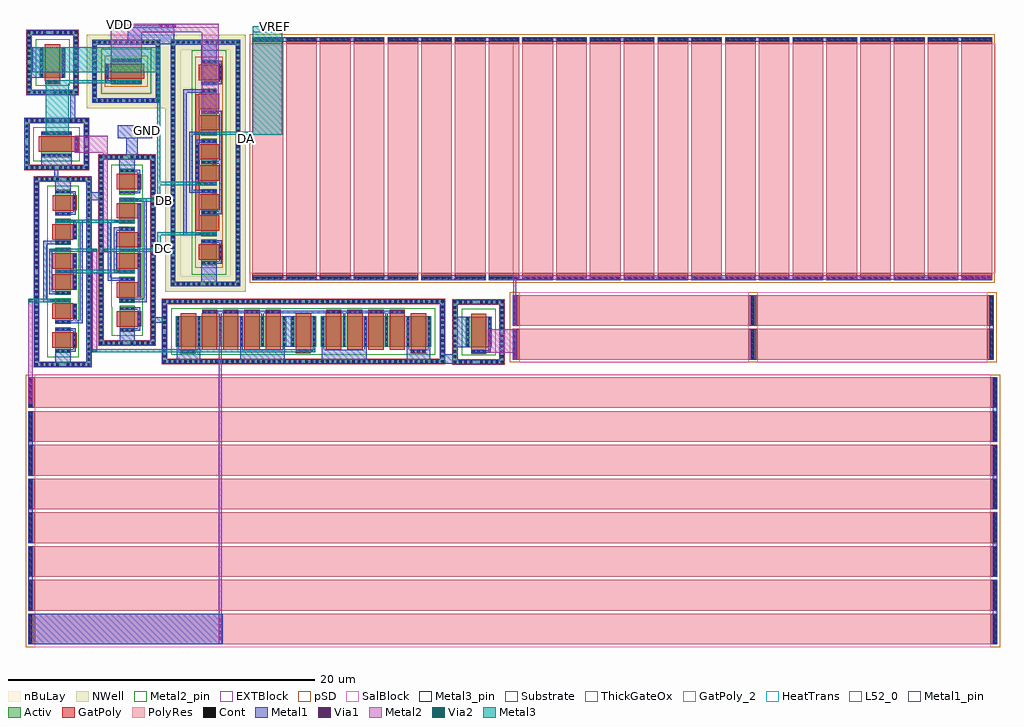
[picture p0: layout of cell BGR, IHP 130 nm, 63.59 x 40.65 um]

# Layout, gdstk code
from math import pi, radians
import gdstk
lib = gdstk.Library(unit=1e-6, precision=5e-09)
def R(c, l, rs):  # rectangles x0, y0, x1, y1
    for r in rs: c.add(gdstk.rectangle(r[:2], r[2:], *l))
def A(c, l, x, y, w, h, nx, ny, dx, dy):  # array of equal rectangles
    R(c, l, [(x+i*dx, y+j*dy, x+i*dx+w, y+j*dy+h) for i in range(nx) for j in range(ny)])
def P(c, l, *ps):  # polygons
    for p in ps: c.add(gdstk.Polygon(p, *l))
Activ = (1, 0)
GatPoly = (5, 0)
GatPoly_2 = (5, 2)
Cont = (6, 0)
Metal1 = (8, 0)
Metal1_pin = (8, 2)
Metal2 = (10, 0)
Metal2_pin = (10, 2)
pSD = (14, 0)
Via1 = (19, 0)
SalBlock = (28, 0)
Via2 = (29, 0)
Metal3 = (30, 0)
Metal3_pin = (30, 2)
NWell = (31, 0)
nBuLay = (32, 0)
Substrate = (40, 0)
ThickGateOx = (44, 0)
HeatTrans = (51, 0)
L52_0 = (52, 0)
EXTBlock = (111, 0)
PolyRes = (128, 0)

nmoshv = lib.new_cell('nmosHV')
R(nmoshv, Activ, [(0,0,0.3,0.3), (0,0,1.68,2), (1.38,0,1.68,0.3)])
R(nmoshv, GatPoly, [(0.34,-0.18,1.34,2.18)])
R(nmoshv, GatPoly_2, [(0.34,-0.18,1.34,2.18)])
A(nmoshv, Cont, 0.07, 0.07, 0.16, 0.16, 1, 6, 0, 0.34)
A(nmoshv, Cont, 1.45, 0.07, 0.16, 0.16, 1, 6, 0, 0.34)
R(nmoshv, Metal1, [(0.07,0,0.23,2), (1.45,0,1.61,2)])
R(nmoshv, Metal1_pin, [(0.07,0,0.23,2), (1.45,0,1.61,2)])
R(nmoshv, ThickGateOx, [(-0.27,-0.52,1.95,2.52)])
R(nmoshv, HeatTrans, [(0.34,-0.18,1.34,2.18)])
nmoshv.add(gdstk.Label('nmosHV', (0.84,1), layer=63, texttype=0))
nmoshv.add(gdstk.Label('nmosHV', (0.84,1), layer=51, texttype=0))

rppd = lib.new_cell('rppd')
R(rppd, GatPoly, [(0,-0.43,2,-0.2), (0,-0.2,2,0), (0,62.265,2,62.465), (0,62.465,2,62.695)])
R(rppd, Cont, [(0.07,-0.36,1.93,-0.2), (0.07,62.465,1.93,62.625)])
R(rppd, Metal1, [(0.02,-0.43,1.98,-0.13), (0.02,62.395,1.98,62.695)])
R(rppd, Metal1_pin, [(0.02,-0.43,1.98,-0.13), (0.02,62.395,1.98,62.695)])
R(rppd, pSD, [(-0.18,-0.61,2.18,0), (-0.18,0,2.18,62.265), (-0.18,62.265,2.18,62.875)])
R(rppd, SalBlock, [(-0.2,0,2.2,62.265)])
R(rppd, L52_0, [(0,0,2,62.265)])
R(rppd, EXTBlock, [(-0.18,-0.61,2.18,0), (-0.2,0,2.2,62.265), (-0.18,62.265,2.18,62.875)])
R(rppd, PolyRes, [(0,0,2,62.265)])
rppd.add(gdstk.Label('rppd r=8105.000', (1,31.13), layer=63, texttype=0))
rppd.add(gdstk.Label('rppd', (1,31.13), layer=52, texttype=0))

rppd_1 = lib.new_cell('rppd$1')
R(rppd_1, GatPoly, [(0,-0.43,2,-0.2), (0,-0.2,2,0), (0,14.97,2,15.17), (0,15.17,2,15.4)])
R(rppd_1, Cont, [(0.07,-0.36,1.93,-0.2), (0.07,15.17,1.93,15.33)])
R(rppd_1, Metal1, [(0.02,-0.43,1.98,-0.13), (0.02,15.1,1.98,15.4)])
R(rppd_1, Metal1_pin, [(0.02,-0.43,1.98,-0.13), (0.02,15.1,1.98,15.4)])
R(rppd_1, pSD, [(-0.18,-0.61,2.18,0), (-0.18,0,2.18,14.97), (-0.18,14.97,2.18,15.58)])
R(rppd_1, SalBlock, [(-0.2,0,2.2,14.97)])
R(rppd_1, L52_0, [(0,0,2,14.97)])
R(rppd_1, EXTBlock, [(-0.18,-0.61,2.18,0), (-0.2,0,2.2,14.97), (-0.18,14.97,2.18,15.58)])
R(rppd_1, PolyRes, [(0,0,2,14.97)])
rppd_1.add(gdstk.Label('rppd r=1975.000', (1,7.485), layer=63, texttype=0))
rppd_1.add(gdstk.Label('rppd', (1,7.485), layer=52, texttype=0))

guard_ring_3 = lib.new_cell('guard_ring$3')
R(guard_ring_3, Activ, [(-2.095,-1.38,-1.795,1.38), (1.795,-1.38,2.095,1.38), (-2.095,1.38,2.095,1.68)])
P(guard_ring_3, Activ, [(-2.095,-1.68),(-2.095,1.38),(-1.795,1.38),(-1.795,-1.38),(1.795,-1.38),(1.795,1.38),(-2.095,1.38),(-2.095,1.68),(2.095,1.68),(2.095,-1.68)])
A(guard_ring_3, Cont, -2.025, -1.61, 0.16, 0.16, 6, 2, 0.34, 3.06)
A(guard_ring_3, Cont, 0.165, -1.61, 0.16, 0.16, 6, 2, 0.34, 3.06)
A(guard_ring_3, Cont, -2.025, -1.27, 0.16, 0.16, 1, 3, 0, 0.34)
A(guard_ring_3, Cont, 1.865, -1.27, 0.16, 0.16, 1, 3, 0, 0.34)
A(guard_ring_3, Cont, -2.025, 0.09, 0.16, 0.16, 1, 4, 0, 0.34)
A(guard_ring_3, Cont, 1.865, 0.09, 0.16, 0.16, 1, 4, 0, 0.34)
R(guard_ring_3, Metal1, [(-2.095,-1.68,2.095,-1.38), (-2.095,-1.38,-1.795,1.38), (1.795,-1.38,2.095,1.38), (-2.095,1.38,2.095,1.68)])
R(guard_ring_3, pSD, [(-2.125,-1.35,-1.765,1.35), (1.765,-1.35,2.125,1.35), (-2.125,1.35,2.125,1.71)])
P(guard_ring_3, pSD, [(-2.125,-1.71),(-2.125,1.35),(-1.765,1.35),(-1.765,-1.35),(1.765,-1.35),(1.765,1.35),(-2.125,1.35),(-2.125,1.71),(2.125,1.71),(2.125,-1.71)])
R(guard_ring_3, Substrate, [(-2.125,-1.35,-1.765,1.35), (1.765,-1.35,2.125,1.35), (-2.125,1.35,2.125,1.71)])
P(guard_ring_3, Substrate, [(-2.125,-1.71),(-2.125,1.35),(-1.765,1.35),(-1.765,-1.35),(1.765,-1.35),(1.765,1.35),(-2.125,1.35),(-2.125,1.71),(2.125,1.71),(2.125,-1.71)])
guard_ring_3.add(gdstk.Label('sub!', (0,-1.53), layer=63, texttype=0))

guard_ring_9 = lib.new_cell('guard_ring$9')
R(guard_ring_9, Activ, [(-6.2,-1.55,-5.9,1.55), (5.9,-1.55,6.2,1.55), (-6.2,1.55,6.2,1.85)])
P(guard_ring_9, Activ, [(-6.2,-1.85),(-6.2,1.55),(-5.9,1.55),(-5.9,-1.55),(5.9,-1.55),(5.9,1.55),(-6.2,1.55),(-6.2,1.85),(6.2,1.85),(6.2,-1.85)])
A(guard_ring_9, Cont, -6.13, -1.78, 0.16, 0.16, 18, 2, 0.34, 3.4)
A(guard_ring_9, Cont, 0.19, -1.78, 0.16, 0.16, 18, 2, 0.34, 3.4)
A(guard_ring_9, Cont, -6.13, -1.44, 0.16, 0.16, 1, 4, 0, 0.34)
A(guard_ring_9, Cont, 5.97, -1.44, 0.16, 0.16, 1, 4, 0, 0.34)
A(guard_ring_9, Cont, -6.13, 0.26, 0.16, 0.16, 1, 4, 0, 0.34)
A(guard_ring_9, Cont, 5.97, 0.26, 0.16, 0.16, 1, 4, 0, 0.34)
R(guard_ring_9, Metal1, [(-6.2,-1.85,6.2,-1.55), (-6.2,-1.55,-5.9,1.55), (5.9,-1.55,6.2,1.55), (-6.2,1.55,6.2,1.85)])
R(guard_ring_9, pSD, [(-6.23,-1.52,-5.87,1.52), (5.87,-1.52,6.23,1.52), (-6.23,1.52,6.23,1.88)])
P(guard_ring_9, pSD, [(-6.23,-1.88),(-6.23,1.52),(-5.87,1.52),(-5.87,-1.52),(5.87,-1.52),(5.87,1.52),(-6.23,1.52),(-6.23,1.88),(6.23,1.88),(6.23,-1.88)])
R(guard_ring_9, Substrate, [(-6.23,-1.52,-5.87,1.52), (5.87,-1.52,6.23,1.52), (-6.23,1.52,6.23,1.88)])
P(guard_ring_9, Substrate, [(-6.23,-1.88),(-6.23,1.52),(-5.87,1.52),(-5.87,-1.52),(5.87,-1.52),(5.87,1.52),(-6.23,1.52),(-6.23,1.88),(6.23,1.88),(6.23,-1.88)])
guard_ring_9.add(gdstk.Label('sub!', (0,-1.7), layer=63, texttype=0))

via_stack_1 = lib.new_cell('via_stack$1')
R(via_stack_1, GatPoly, [(-0.49,-0.15,0.49,0.15)])
A(via_stack_1, Cont, -0.42, -0.08, 0.16, 0.16, 3, 1, 0.34, 0)
R(via_stack_1, Metal1, [(-0.47,-0.08,0.47,0.08)])

nmoshv_1 = lib.new_cell('nmosHV$1')
R(nmoshv_1, Activ, [(0,0,0.3,0.3), (0,0,1.68,1), (1.38,0,1.68,0.3)])
R(nmoshv_1, GatPoly, [(0.34,-0.18,1.34,1.18)])
R(nmoshv_1, GatPoly_2, [(0.34,-0.18,1.34,1.18)])
A(nmoshv_1, Cont, 0.07, 0.07, 0.16, 0.16, 1, 3, 0, 0.35)
A(nmoshv_1, Cont, 1.45, 0.07, 0.16, 0.16, 1, 3, 0, 0.35)
R(nmoshv_1, Metal1, [(0.07,0,0.23,1), (1.45,0,1.61,1)])
R(nmoshv_1, Metal1_pin, [(0.07,0,0.23,1), (1.45,0,1.61,1)])
R(nmoshv_1, ThickGateOx, [(-0.27,-0.52,1.95,1.52)])
R(nmoshv_1, HeatTrans, [(0.34,-0.18,1.34,1.18)])
nmoshv_1.add(gdstk.Label('nmosHV', (0.84,0.5), layer=63, texttype=0))
nmoshv_1.add(gdstk.Label('nmosHV', (0.84,0.5), layer=51, texttype=0))

via_stack_2 = lib.new_cell('via_stack$2')
R(via_stack_2, Metal1, [(-0.105,-0.965,0.105,0.965)])
R(via_stack_2, Metal2, [(-0.1,-0.965,0.1,0.965)])
A(via_stack_2, Via1, -0.095, -0.915, 0.19, 0.19, 1, 5, 0, 0.41)

via_stack_5 = lib.new_cell('via_stack$5')
R(via_stack_5, Metal1, [(-0.965,-0.105,0.965,0.105)])
R(via_stack_5, Metal2, [(-0.965,-0.1,0.965,0.1)])
A(via_stack_5, Via1, -0.915, -0.095, 0.19, 0.19, 5, 1, 0.41, 0)

via_stack_8 = lib.new_cell('via_stack$8')
R(via_stack_8, Metal1, [(-0.76,-0.105,0.76,0.105)])
R(via_stack_8, Metal2, [(-0.76,-0.1,0.76,0.1)])
A(via_stack_8, Via1, -0.71, -0.095, 0.19, 0.19, 4, 1, 0.41, 0)

guard_ring_2 = lib.new_cell('guard_ring$2')
R(guard_ring_2, Activ, [(-9.2,-1.8,-8.9,1.8), (8.9,-1.8,9.2,1.8), (-9.2,1.8,9.2,2.1)])
P(guard_ring_2, Activ, [(-9.2,-2.1),(-9.2,1.8),(-8.9,1.8),(-8.9,-1.8),(8.9,-1.8),(8.9,1.8),(-9.2,1.8),(-9.2,2.1),(9.2,2.1),(9.2,-2.1)])
A(guard_ring_2, Cont, -9.13, -2.03, 0.16, 0.16, 27, 2, 0.34, 3.9)
A(guard_ring_2, Cont, 0.13, -2.03, 0.16, 0.16, 27, 2, 0.34, 3.9)
A(guard_ring_2, Cont, -9.13, -1.69, 0.16, 0.16, 1, 5, 0, 0.34)
A(guard_ring_2, Cont, 8.97, -1.69, 0.16, 0.16, 1, 5, 0, 0.34)
A(guard_ring_2, Cont, -9.13, 0.17, 0.16, 0.16, 1, 5, 0, 0.34)
A(guard_ring_2, Cont, 8.97, 0.17, 0.16, 0.16, 1, 5, 0, 0.34)
R(guard_ring_2, Metal1, [(-9.2,-2.1,9.2,-1.8), (-9.2,-1.8,-8.9,1.8), (8.9,-1.8,9.2,1.8), (-9.2,1.8,9.2,2.1)])
R(guard_ring_2, pSD, [(-9.23,-1.77,-8.87,1.77), (8.87,-1.77,9.23,1.77), (-9.23,1.77,9.23,2.13)])
P(guard_ring_2, pSD, [(-9.23,-2.13),(-9.23,1.77),(-8.87,1.77),(-8.87,-1.77),(8.87,-1.77),(8.87,1.77),(-9.23,1.77),(-9.23,2.13),(9.23,2.13),(9.23,-2.13)])
R(guard_ring_2, Substrate, [(-9.23,-1.77,-8.87,1.77), (8.87,-1.77,9.23,1.77), (-9.23,1.77,9.23,2.13)])
P(guard_ring_2, Substrate, [(-9.23,-2.13),(-9.23,1.77),(-8.87,1.77),(-8.87,-1.77),(8.87,-1.77),(8.87,1.77),(-9.23,1.77),(-9.23,2.13),(9.23,2.13),(9.23,-2.13)])
guard_ring_2.add(gdstk.Label('sub!', (0,-1.95), layer=63, texttype=0))

guard_ring = lib.new_cell('guard_ring')
R(guard_ring, Activ, [(-8.025,-1.975,-7.725,1.975), (7.725,-1.975,8.025,1.975), (-8.025,1.975,8.025,2.275)])
P(guard_ring, Activ, [(-8.025,-2.275),(-8.025,1.975),(-7.725,1.975),(-7.725,-1.975),(7.725,-1.975),(7.725,1.975),(-8.025,1.975),(-8.025,2.275),(8.025,2.275),(8.025,-2.275)])
A(guard_ring, Cont, -7.955, -2.205, 0.16, 0.16, 23, 2, 0.34, 4.25)
A(guard_ring, Cont, -0.025, -2.205, 0.16, 0.16, 24, 2, 0.34, 4.25)
A(guard_ring, Cont, -7.955, -1.865, 0.16, 0.16, 1, 5, 0, 0.34)
A(guard_ring, Cont, 7.795, -1.865, 0.16, 0.16, 1, 5, 0, 0.34)
A(guard_ring, Cont, -7.955, 0.005, 0.16, 0.16, 1, 6, 0, 0.34)
A(guard_ring, Cont, 7.795, 0.005, 0.16, 0.16, 1, 6, 0, 0.34)
R(guard_ring, Metal1, [(-8.025,-2.275,8.025,-1.975), (-8.025,-1.975,-7.725,1.975), (7.725,-1.975,8.025,1.975), (-8.025,1.975,8.025,2.275)])
R(guard_ring, NWell, [(-8.375,-2.625,8.375,2.625)])
R(guard_ring, nBuLay, [(-8.375,-1.625,-7.375,1.625), (7.375,-1.625,8.375,1.625), (-8.375,1.625,8.375,2.625)])
P(guard_ring, nBuLay, [(-8.375,-2.625),(-8.375,1.625),(-7.375,1.625),(-7.375,-1.625),(7.375,-1.625),(7.375,1.625),(-8.375,1.625),(-8.375,2.625),(8.375,2.625),(8.375,-2.625)])
guard_ring.add(gdstk.Label('well', (0,-2.125), layer=63, texttype=0))

via_stack = lib.new_cell('via_stack')
R(via_stack, GatPoly, [(-1.17,-0.15,1.17,0.15)])
A(via_stack, Cont, -1.1, -0.08, 0.16, 0.16, 7, 1, 0.34, 0)
R(via_stack, Metal1, [(-1.15,-0.08,1.15,0.08)])

pmoshv = lib.new_cell('pmosHV')
R(pmoshv, Activ, [(0,0,0.3,0.3), (0,0,1.68,1), (1.38,0,1.68,0.3)])
R(pmoshv, GatPoly, [(0.34,-0.18,1.34,1.18)])
R(pmoshv, GatPoly_2, [(0.34,-0.18,1.34,1.18)])
A(pmoshv, Cont, 0.07, 0.07, 0.16, 0.16, 1, 3, 0, 0.35)
A(pmoshv, Cont, 1.45, 0.07, 0.16, 0.16, 1, 3, 0, 0.35)
R(pmoshv, Metal1, [(0.07,0,0.23,1), (1.45,0,1.61,1)])
R(pmoshv, Metal1_pin, [(0.07,0,0.23,1), (1.45,0,1.61,1)])
R(pmoshv, pSD, [(-0.18,-0.4,1.86,1.4)])
R(pmoshv, NWell, [(-0.62,-0.62,2.3,1.62)])
R(pmoshv, Substrate, [(1.38,0,1.68,0.3)])
R(pmoshv, ThickGateOx, [(-0.62,-0.62,2.3,1.62)])
R(pmoshv, HeatTrans, [(0.34,-0.18,1.34,1.18)])
pmoshv.add(gdstk.Label('pmosHV', (0.84,0.5), layer=63, texttype=0))
pmoshv.add(gdstk.Label('pmos', (0.84,0.5), layer=51, texttype=0))

via_stack_6 = lib.new_cell('via_stack$6')
R(via_stack_6, Metal1, [(-0.555,-0.105,0.555,0.105)])
R(via_stack_6, Metal2, [(-0.555,-0.1,0.555,0.1)])
A(via_stack_6, Via1, -0.505, -0.095, 0.19, 0.19, 3, 1, 0.41, 0)

guard_ring_1 = lib.new_cell('guard_ring$1')
R(guard_ring_1, Activ, [(-2.225,-1.75,-1.925,1.75), (1.925,-1.75,2.225,1.75), (-2.225,1.75,2.225,2.05)])
P(guard_ring_1, Activ, [(-2.225,-2.05),(-2.225,1.75),(-1.925,1.75),(-1.925,-1.75),(1.925,-1.75),(1.925,1.75),(-2.225,1.75),(-2.225,2.05),(2.225,2.05),(2.225,-2.05)])
A(guard_ring_1, Cont, -2.155, -1.98, 0.16, 0.16, 6, 2, 0.34, 3.8)
A(guard_ring_1, Cont, -0.045, -1.98, 0.16, 0.16, 7, 2, 0.34, 3.8)
A(guard_ring_1, Cont, -2.155, -1.64, 0.16, 0.16, 1, 5, 0, 0.34)
A(guard_ring_1, Cont, 1.995, -1.64, 0.16, 0.16, 1, 5, 0, 0.34)
A(guard_ring_1, Cont, -2.155, 0.12, 0.16, 0.16, 1, 5, 0, 0.34)
A(guard_ring_1, Cont, 1.995, 0.12, 0.16, 0.16, 1, 5, 0, 0.34)
R(guard_ring_1, Metal1, [(-2.225,-2.05,2.225,-1.75), (-2.225,-1.75,-1.925,1.75), (1.925,-1.75,2.225,1.75), (-2.225,1.75,2.225,2.05)])
R(guard_ring_1, NWell, [(-2.575,-2.4,2.575,2.4)])
R(guard_ring_1, nBuLay, [(-2.575,-1.4,-1.575,1.4), (1.575,-1.4,2.575,1.4), (-2.575,1.4,2.575,2.4)])
P(guard_ring_1, nBuLay, [(-2.575,-2.4),(-2.575,1.4),(-1.575,1.4),(-1.575,-1.4),(1.575,-1.4),(1.575,1.4),(-2.575,1.4),(-2.575,2.4),(2.575,2.4),(2.575,-2.4)])
guard_ring_1.add(gdstk.Label('well', (0,-1.9), layer=63, texttype=0))

pmoshv_2 = lib.new_cell('pmosHV$2')
R(pmoshv_2, Activ, [(0,0,0.3,0.3), (0,0,1.68,2), (1.38,0,1.68,0.3)])
R(pmoshv_2, GatPoly, [(0.34,-0.18,1.34,2.18)])
R(pmoshv_2, GatPoly_2, [(0.34,-0.18,1.34,2.18)])
A(pmoshv_2, Cont, 0.07, 0.07, 0.16, 0.16, 1, 6, 0, 0.34)
A(pmoshv_2, Cont, 1.45, 0.07, 0.16, 0.16, 1, 6, 0, 0.34)
R(pmoshv_2, Metal1, [(0.07,0,0.23,2), (1.45,0,1.61,2)])
R(pmoshv_2, Metal1_pin, [(0.07,0,0.23,2), (1.45,0,1.61,2)])
R(pmoshv_2, pSD, [(-0.18,-0.4,1.86,2.4)])
R(pmoshv_2, NWell, [(-0.62,-0.62,2.3,2.62)])
R(pmoshv_2, Substrate, [(1.38,0,1.68,0.3)])
R(pmoshv_2, ThickGateOx, [(-0.62,-0.62,2.3,2.62)])
R(pmoshv_2, HeatTrans, [(0.34,-0.18,1.34,2.18)])
pmoshv_2.add(gdstk.Label('pmosHV', (0.84,1), layer=63, texttype=0))
pmoshv_2.add(gdstk.Label('pmos', (0.84,1), layer=51, texttype=0))

via_stack_3 = lib.new_cell('via_stack$3')
R(via_stack_3, Metal1, [(-0.35,-0.105,0.35,0.105)])
R(via_stack_3, Metal2, [(-0.35,-0.1,0.35,0.1)])
R(via_stack_3, Via1, [(-0.3,-0.095,-0.11,0.095), (0.11,-0.095,0.3,0.095)])
R(via_stack_3, Via2, [(-0.3,-0.095,-0.11,0.095), (0.11,-0.095,0.3,0.095)])
R(via_stack_3, Metal3, [(-0.35,-0.1,0.35,0.1)])

via_stack_7 = lib.new_cell('via_stack$7')
R(via_stack_7, Metal1, [(-0.965,-0.105,0.965,0.105)])
R(via_stack_7, Metal2, [(-0.965,-0.1,0.965,0.1)])
A(via_stack_7, Via1, -0.915, -0.095, 0.19, 0.19, 5, 1, 0.41, 0)
A(via_stack_7, Via2, -0.915, -0.095, 0.19, 0.19, 5, 1, 0.41, 0)
R(via_stack_7, Metal3, [(-0.965,-0.1,0.965,0.1)])

via_stack_4 = lib.new_cell('via_stack$4')
R(via_stack_4, Metal1, [(-0.105,-0.76,0.105,0.76)])
R(via_stack_4, Metal2, [(-0.1,-0.76,0.1,0.76)])
A(via_stack_4, Via1, -0.095, -0.71, 0.19, 0.19, 1, 4, 0, 0.41)
A(via_stack_4, Via2, -0.095, -0.71, 0.19, 0.19, 1, 4, 0, 0.41)
R(via_stack_4, Metal3, [(-0.1,-0.76,0.1,0.76)])

via_stack_9 = lib.new_cell('via_stack$9')
R(via_stack_9, Metal1, [(-0.76,-0.105,0.76,0.105)])
R(via_stack_9, Metal2, [(-0.76,-0.1,0.76,0.1)])
A(via_stack_9, Via1, -0.71, -0.095, 0.19, 0.19, 4, 1, 0.41, 0)
A(via_stack_9, Via2, -0.71, -0.095, 0.19, 0.19, 4, 1, 0.41, 0)
R(via_stack_9, Metal3, [(-0.76,-0.1,0.76,0.1)])

via_stack_10 = lib.new_cell('via_stack$10')
R(via_stack_10, GatPoly, [(-0.15,-0.49,0.15,0.49)])
A(via_stack_10, Cont, -0.08, -0.42, 0.16, 0.16, 1, 3, 0, 0.34)
R(via_stack_10, Metal1, [(-0.105,-0.555,0.105,0.555)])
R(via_stack_10, Metal2, [(-0.1,-0.555,0.1,0.555)])
A(via_stack_10, Via1, -0.095, -0.505, 0.19, 0.19, 1, 3, 0, 0.41)

via_stack_12 = lib.new_cell('via_stack$12')
R(via_stack_12, Metal1, [(-0.105,-0.76,0.105,0.76)])
R(via_stack_12, Metal2, [(-0.1,-0.76,0.1,0.76)])
A(via_stack_12, Via1, -0.095, -0.71, 0.19, 0.19, 1, 4, 0, 0.41)

bgr = lib.new_cell('BGR')
R(bgr, GatPoly, [(90.19,11.39,90.42,14.28), (93.935,15.75,94.235,24.65)])
P(bgr, GatPoly, [(90.19,14.66),(90.19,16.545),(90.19,17.55),(90.42,17.55),(90.42,14.66)])
A(bgr, Cont, 90.19, 13.36, 0.16, 0.16, 1, 3, 0, 0.34)
A(bgr, Cont, 90.19, 14.74, 0.16, 0.16, 1, 3, 0, 0.34)
R(bgr, Cont, [(90.19,15.42,90.35,15.58)])
A(bgr, Metal1, 145.9, -11.185, 0.3, 4.16, 1, 4, 0, 4.4)
A(bgr, Metal1, 83.075, -8.985, 0.3, 4.16, 1, 3, 0, 4.4)
A(bgr, Metal1, 108.685, 12.53, 4.16, 0.3, 8, 1, 4.4, 0)
A(bgr, Metal1, 106.485, 28.06, 4.16, 0.3, 9, 1, 4.4, 0)
R(bgr, Metal1, [(83.075,-11.185,95.725,-9.225), (109.99,7.08,110.855,7.69), (84.825,7.15,85.825,8.01), (145.68,7.365,145.98,11.525), (110.915,8.145,111.805,10.145), (89.015,8.56,90.015,9.39), (91.155,9.745,91.965,10.095), (86.005,9.895,86.215,10.98), (94.345,12.36,95.345,13.74), (97.685,12.53,108.445,12.83), (86.005,15.2,86.215,16.285), (87.04,17.715,87.76,18.24), (84.83,18.17,85.83,19), (84.745,19.07,85.03,19.835), (89.01,19.55,90.01,20.41), (83.915,19.705,85.915,20.775), (89.455,20.6,90.21,21.91), (88.91,21.77,91.16,22.63), (85.815,22.925,86.145,24.785), (84.18,25.345,85.12,25.555), (83.175,25.71,84.04,27.71), (94.345,26.665,95.345,28.045), (88.455,26.72,90.455,26.93), (89.56,27.88,92.57,29.12), (97.685,28.06,106.245,28.36)])
P(bgr, Metal1, [(107.715,7.31),(107.715,8.175),(107.875,8.175),(107.875,7.995),(109.095,7.995),(109.095,8.345),(109.255,8.345),(109.255,7.31)],
  [(92.735,7.25),(92.735,8.32),(92.895,8.32),(92.895,7.995),(94.115,7.995),(94.115,8.175),(94.275,8.175),(94.275,7.25)],
  [(90.19,11.485),(90.19,14.365),(89.01,14.365),(89.01,14.575),(90.19,14.575),(90.19,17.455),(90.38,17.455),(90.38,11.485)],
  [(88.115,25.365),(88.115,26.605),(88.275,26.605),(88.275,25.525),(88.595,25.525),(88.595,25.365)],
  [(111.945,7.805),(111.945,7.965),(113.025,7.965),(113.025,8.285),(113.185,8.285),(113.185,7.805)],
  [(86.005,11.93),(86.005,12.985),(84.825,12.985),(84.825,13.195),(86.005,13.195),(86.005,14.25),(86.215,14.25),(86.215,11.93)],
  [(95.47,8.175),(95.47,10.355),(94.415,10.355),(94.415,10.515),(107.575,10.515),(107.575,10.355),(106.495,10.355),(106.495,10.175),(106.335,10.175),(106.335,10.355),(103.735,10.355),(103.735,10.175),(103.575,10.175),(103.575,10.355),(98.415,10.355),(98.415,10.175),(98.255,10.175),(98.255,10.355),(95.68,10.355),(95.68,8.175)],
  [(96.875,7.265),(96.875,8.175),(97.035,8.175),(97.035,7.995),(99.635,7.995),(99.635,10.175),(100.385,10.175),(100.385,8.175),(99.795,8.175),(99.795,7.265)],
  [(102.195,7.265),(102.195,8.175),(102.355,8.175),(102.355,7.995),(104.955,7.995),(104.955,8.175),(105.115,8.175),(105.115,7.265)],
  [(100.495,7.81),(100.495,8.02),(101.605,8.02),(101.605,8.175),(101.765,8.175),(101.765,7.81)],
  [(85.825,7.85),(85.825,8.01),(86.005,8.01),(86.005,9.23),(85.825,9.23),(85.825,9.39),(86.165,9.39),(86.165,7.85)],
  [(85.83,16.79),(85.83,16.95),(86.01,16.95),(86.01,18.17),(85.83,18.17),(85.83,18.33),(86.17,18.33),(86.17,16.79)],
  [(84.06,11.095),(84.06,15.085),(85.825,15.085),(85.825,14.875),(84.26,14.875),(84.26,11.305),(85.825,11.305),(85.825,11.095),(85.015,11.095)],
  [(84.825,9.715),(84.825,9.925),(86.415,9.925),(86.415,16.255),(84.825,16.255),(84.825,16.465),(86.615,16.465),(86.615,9.715),(85.66,9.715)],
  [(84.44,11.605),(84.44,14.575),(85.825,14.575),(85.825,14.365),(85.3,14.365),(84.645,14.365),(84.645,11.815),(85.825,11.815),(85.825,11.61),(85.385,11.61),(85.385,11.605)],
  [(90.01,18.17),(90.01,18.33),(90.19,18.33),(90.19,19.55),(90.01,19.55),(90.01,19.71),(90.35,19.71),(90.35,18.17)],
  [(90.015,9.23),(90.015,9.39),(90.195,9.39),(90.195,10.61),(90.015,10.61),(90.015,10.77),(90.355,10.77),(90.355,9.23)],
  [(88.245,12.475),(88.245,16.465),(89.2,16.465),(90.01,16.465),(90.01,16.255),(88.445,16.255),(88.445,12.685),(90.01,12.685),(90.01,12.475)],
  [(89.01,11.095),(89.01,11.305),(90.6,11.305),(90.6,17.635),(89.01,17.635),(89.01,17.845),(89.845,17.845),(90.8,17.845),(90.8,11.095)],
  [(88.625,12.985),(88.625,15.955),(89.57,15.955),(89.57,15.95),(90.01,15.95),(90.01,15.745),(88.83,15.745),(88.83,13.195),(89.485,13.195),(90.01,13.195),(90.01,12.985)],
  [(95.345,13.58),(95.345,13.74),(95.525,13.74),(95.525,14.96),(95.345,14.96),(95.345,15.12),(95.685,15.12),(95.685,13.58)],
  [(95.345,25.285),(95.345,25.445),(95.525,25.445),(95.525,26.665),(95.345,26.665),(95.345,26.825),(95.685,26.825),(95.685,25.285)],
  [(94.345,16.825),(94.345,17.035),(95.525,17.035),(95.525,20.095),(94.345,20.095),(94.345,20.305),(95.525,20.305),(95.525,23.365),(94.345,23.365),(94.345,23.575),(95.685,23.575),(95.685,16.825)],
  [(93.17,15.445),(93.17,24.955),(95.345,24.955),(95.345,24.745),(93.38,24.745),(93.38,15.655),(95.345,15.655),(95.345,15.445)],
  [(93.955,18.715),(93.955,21.685),(95.345,21.685),(95.345,21.475),(94.165,21.475),(94.165,18.925),(95.345,18.925),(95.345,18.715)],
  [(93.565,18.205),(93.565,22.195),(95.345,22.195),(95.345,21.985),(93.775,21.985),(93.775,18.415),(95.345,18.415),(95.345,18.205)])
R(bgr, Metal1_pin, [(88.91,21.77,91.16,22.63)])
A(bgr, Metal2, 94.005, 15.45, 1.34, 0.2, 1, 3, 0, 3.27)
R(bgr, Metal2, [(95.47,-11.175,95.68,10.175), (83.075,4.465,83.375,11.305), (113.005,7.805,114.87,9.325), (87.25,7.81,87.55,14.575), (100.495,7.815,101.765,8.015), (84.485,11.1,85.825,11.3), (84.825,12.99,86.165,13.19), (88.67,12.99,90.01,13.19), (84.485,14.37,85.825,14.57), (89.01,14.37,90.35,14.57), (84.825,16.26,86.165,16.46), (88.67,16.26,90.01,16.46), (89.01,17.64,90.35,17.84), (84.18,25.35,85.12,25.55)])
P(bgr, Metal2, [(87.945,14.33),(87.945,20.83),(86.1,20.83),(86.1,21.94),(88.245,21.94),(88.245,14.33)],
  [(94.375,23.37),(94.375,28.68),(90.455,28.68),(90.455,26.725),(88.455,26.725),(88.455,29.24),(95.49,29.24),(95.49,28.68),(95.485,28.68),(95.485,23.37)],
  [(114.67,9.58),(114.67,28.11),(114.67,12.83),(145.07,12.83),(145.83,12.83),(145.83,12.535),(114.87,12.535),(114.87,9.58)])
R(bgr, Metal2_pin, [(88.645,28.97,95.49,29.24)])
A(bgr, Via1, 94.11, 15.455, 0.19, 0.19, 1, 3, 0, 3.27)
A(bgr, Via1, 94.61, 15.455, 0.19, 0.19, 1, 3, 0, 3.27)
A(bgr, Via1, 95.085, 15.455, 0.19, 0.19, 1, 3, 0, 3.27)
R(bgr, Via1, [(100.7,7.82,100.89,8.01), (101.2,7.82,101.39,8.01), (84.59,11.105,84.78,11.295), (85.09,11.105,85.28,11.295), (85.565,11.105,85.755,11.295), (84.895,12.995,85.085,13.185), (85.37,12.995,85.56,13.185), (85.87,12.995,86.06,13.185), (88.775,12.995,88.965,13.185), (89.275,12.995,89.465,13.185), (89.75,12.995,89.94,13.185), (84.59,14.375,84.78,14.565), (85.09,14.375,85.28,14.565), (85.565,14.375,85.755,14.565), (89.08,14.375,89.27,14.565), (89.555,14.375,89.745,14.565), (90.055,14.375,90.245,14.565), (84.895,16.265,85.085,16.455), (85.37,16.265,85.56,16.455), (85.87,16.265,86.06,16.455), (88.775,16.265,88.965,16.455), (89.275,16.265,89.465,16.455), (89.75,16.265,89.94,16.455), (89.08,17.645,89.27,17.835), (89.555,17.645,89.745,17.835), (90.055,17.645,90.245,17.835)])
A(bgr, Via2, 100.58, 7.82, 0.19, 0.19, 3, 1, 0.41, 0)
A(bgr, Via2, 84.615, 11.105, 0.19, 0.19, 3, 2, 0.41, 3.27)
A(bgr, Via2, 85.025, 12.995, 0.19, 0.19, 3, 2, 0.41, 3.27)
A(bgr, Via2, 88.8, 12.995, 0.19, 0.19, 3, 2, 0.41, 3.27)
A(bgr, Via2, 89.21, 14.375, 0.19, 0.19, 3, 2, 0.41, 3.27)
A(bgr, Via2, 94.135, 15.455, 0.19, 0.19, 3, 3, 0.41, 3.27)
R(bgr, Via2, [(87.305,7.82,87.495,8.01), (83.135,11.105,83.325,11.295), (87.31,14.375,87.5,14.565), (88.005,14.375,88.195,14.565)])
R(bgr, Metal3, [(87.25,7.81,101.765,8.02), (83.075,11.095,85.825,11.305), (84.825,12.985,87.465,13.195), (87.135,12.985,90.01,13.195), (84.44,14.365,87.55,14.575), (87.945,14.365,91.65,14.575), (91.475,14.365,91.685,15.655), (91.535,15.445,95.345,15.655), (84.825,16.255,87.465,16.465), (87.135,16.255,90.01,16.465), (89.01,17.635,91.65,17.845), (91.535,18.715,95.345,18.925)])
P(bgr, Metal3, [(84.195,21.975),(84.195,25.345),(84.18,25.345),(84.18,25.555),(90.335,25.555),(90.335,25.345),(85.715,25.345),(85.715,21.975)],
  [(91.465,17.635),(91.465,26.06),(83.34,26.06),(83.34,27.71),(91.675,27.71),(91.675,25.76),(91.675,17.635)],
  [(93.925,21.985),(93.925,22.195),(97.7,22.195),(97.7,29.075),(99.625,29.075),(99.625,21.985),(97.7,21.985)])
R(bgr, Metal3_pin, [(97.7,28.66,99.625,29.075)])
bgr.add(gdstk.Reference(nmoshv, (111.575,8.145)))
bgr.add(gdstk.Reference(nmoshv, (94.045,8.175)))
bgr.add(gdstk.Reference(nmoshv, (95.425,8.175)))
bgr.add(gdstk.Reference(nmoshv, (96.805,8.175)))
bgr.add(gdstk.Reference(nmoshv, (98.185,8.175)))
bgr.add(gdstk.Reference(nmoshv, (100.155,8.175)))
bgr.add(gdstk.Reference(nmoshv, (102.125,8.175)))
bgr.add(gdstk.Reference(nmoshv, (103.505,8.175)))
bgr.add(gdstk.Reference(nmoshv, (104.885,8.175)))
bgr.add(gdstk.Reference(nmoshv, (106.265,8.175)))
bgr.add(gdstk.Reference(rppd, (83.505,-9.205), rotation=3*pi/2))
bgr.add(gdstk.Reference(rppd_1, (113.065,27.93), x_reflection=True))
bgr.add(gdstk.Reference(rppd_1, (115.05,9.345), rotation=3*pi/2))
bgr.add(gdstk.Reference(rppd, (83.505,6.195), rotation=3*pi/2))
bgr.add(gdstk.Reference(rppd, (83.505,3.995), rotation=3*pi/2))
bgr.add(gdstk.Reference(rppd, (83.505,1.795), rotation=3*pi/2))
bgr.add(gdstk.Reference(rppd, (83.505,-0.405), rotation=3*pi/2))
bgr.add(gdstk.Reference(rppd, (83.505,-2.605), rotation=3*pi/2))
bgr.add(gdstk.Reference(rppd, (83.505,-4.805), rotation=3*pi/2))
bgr.add(gdstk.Reference(rppd, (83.505,-7.005), rotation=3*pi/2))
bgr.add(gdstk.Reference(rppd_1, (130.58,9.345), rotation=3*pi/2))
bgr.add(gdstk.Reference(nmoshv, (107.645,8.175)))
bgr.add(gdstk.Reference(nmoshv, (92.665,8.175)))
bgr.add(gdstk.Reference(guard_ring_3, (112.415,9.145), rotation=3*pi/2))
bgr.add(gdstk.Reference(guard_ring_9, (89.495,14.49), rotation=pi/2, x_reflection=True))
bgr.add(gdstk.Reference(via_stack_1, (86.085,8.62), rotation=pi/2))
bgr.add(gdstk.Reference(guard_ring_9, (85.31,13.07), rotation=3*pi/2))
bgr.add(gdstk.Reference(nmoshv_1, (85.825,9.46), rotation=3*pi/2, x_reflection=True))
bgr.add(gdstk.Reference(via_stack_2, (95.575,9.14)))
bgr.add(gdstk.Reference(via_stack_5, (114.77,8.345), rotation=3*pi/2))
bgr.add(gdstk.Reference(via_stack_8, (113.105,8.565), rotation=3*pi/2))
bgr.add(gdstk.Reference(nmoshv_1, (90.015,9.16), rotation=pi/2))
bgr.add(gdstk.Reference(rppd_1, (115.05,11.545), rotation=3*pi/2))
bgr.add(gdstk.Reference(guard_ring_2, (100.995,9.175), rotation=pi))
bgr.add(gdstk.Reference(rppd_1, (132.865,27.93), x_reflection=True))
bgr.add(gdstk.Reference(rppd_1, (135.065,27.93), x_reflection=True))
bgr.add(gdstk.Reference(rppd_1, (137.265,27.93), x_reflection=True))
bgr.add(gdstk.Reference(rppd_1, (139.465,27.93), x_reflection=True))
bgr.add(gdstk.Reference(rppd_1, (141.665,27.93), x_reflection=True))
bgr.add(gdstk.Reference(rppd_1, (143.865,27.93), x_reflection=True))
bgr.add(gdstk.Reference(rppd_1, (115.265,27.93), x_reflection=True))
bgr.add(gdstk.Reference(rppd_1, (117.465,27.93), x_reflection=True))
bgr.add(gdstk.Reference(rppd_1, (130.58,11.545), rotation=3*pi/2))
bgr.add(gdstk.Reference(rppd_1, (119.665,27.93), x_reflection=True))
bgr.add(gdstk.Reference(rppd_1, (121.865,27.93), x_reflection=True))
bgr.add(gdstk.Reference(via_stack_5, (114.77,10.545), rotation=3*pi/2))
bgr.add(gdstk.Reference(rppd_1, (124.065,27.93), x_reflection=True))
bgr.add(gdstk.Reference(rppd_1, (126.265,27.93), x_reflection=True))
bgr.add(gdstk.Reference(via_stack_5, (144.865,12.675)))
bgr.add(gdstk.Reference(rppd_1, (128.465,27.93), x_reflection=True))
bgr.add(gdstk.Reference(rppd_1, (130.665,27.93), x_reflection=True))
bgr.add(gdstk.Reference(guard_ring, (94.615,20.15), rotation=3*pi/2))
bgr.add(gdstk.Reference(via_stack_1, (95.605,14.35), rotation=3*pi/2))
bgr.add(gdstk.Reference(via_stack_1, (95.605,26.055), rotation=3*pi/2))
bgr.add(gdstk.Reference(via_stack, (94.085,20.2), rotation=3*pi/2))
bgr.add(gdstk.Reference(via_stack_1, (90.27,18.94), rotation=3*pi/2, x_reflection=True))
bgr.add(gdstk.Reference(via_stack_1, (90.275,10), rotation=3*pi/2, x_reflection=True))
bgr.add(gdstk.Reference(rppd_1, (108.665,27.93), x_reflection=True))
bgr.add(gdstk.Reference(nmoshv_1, (90.01,18.1), rotation=pi/2))
bgr.add(gdstk.Reference(pmoshv, (95.345,15.4), rotation=pi/2))
bgr.add(gdstk.Reference(nmoshv_1, (90.01,11.05), rotation=pi/2))
bgr.add(gdstk.Reference(nmoshv_1, (90.01,12.94), rotation=pi/2))
bgr.add(gdstk.Reference(nmoshv_1, (90.01,14.32), rotation=pi/2))
bgr.add(gdstk.Reference(nmoshv_1, (90.01,16.21), rotation=pi/2))
bgr.add(gdstk.Reference(via_stack_1, (86.085,10.51), rotation=pi/2))
bgr.add(gdstk.Reference(via_stack_1, (86.085,12.4), rotation=pi/2))
bgr.add(gdstk.Reference(via_stack_1, (86.085,13.78), rotation=pi/2))
bgr.add(gdstk.Reference(via_stack_1, (86.085,15.67), rotation=pi/2))
bgr.add(gdstk.Reference(rppd_1, (110.865,27.93), x_reflection=True))
bgr.add(gdstk.Reference(via_stack_1, (86.09,17.56), rotation=pi/2))
bgr.add(gdstk.Reference(pmoshv, (95.345,20.05), rotation=pi/2))
bgr.add(gdstk.Reference(pmoshv, (95.345,25.215), rotation=pi/2))
bgr.add(gdstk.Reference(nmoshv_1, (85.83,18.4), rotation=3*pi/2, x_reflection=True))
bgr.add(gdstk.Reference(nmoshv_1, (85.825,16.51), rotation=3*pi/2, x_reflection=True))
bgr.add(gdstk.Reference(nmoshv_1, (85.825,14.62), rotation=3*pi/2, x_reflection=True))
bgr.add(gdstk.Reference(nmoshv_1, (85.825,13.24), rotation=3*pi/2, x_reflection=True))
bgr.add(gdstk.Reference(nmoshv_1, (85.825,11.35), rotation=3*pi/2, x_reflection=True))
bgr.add(gdstk.Reference(via_stack_1, (107.105,10.435), x_reflection=True))
bgr.add(gdstk.Reference(via_stack_1, (105.725,10.435), x_reflection=True))
bgr.add(gdstk.Reference(via_stack_1, (104.345,10.435), x_reflection=True))
bgr.add(gdstk.Reference(via_stack_1, (102.965,10.435), x_reflection=True))
bgr.add(gdstk.Reference(via_stack_1, (99.025,10.435), x_reflection=True))
bgr.add(gdstk.Reference(via_stack_1, (97.645,10.435), x_reflection=True))
bgr.add(gdstk.Reference(via_stack_1, (96.265,10.435), x_reflection=True))
bgr.add(gdstk.Reference(via_stack_1, (94.885,10.435), x_reflection=True))
bgr.add(gdstk.Reference(pmoshv, (95.345,13.51), rotation=pi/2))
bgr.add(gdstk.Reference(via_stack_6, (94.93,23.47)))
bgr.add(gdstk.Reference(guard_ring_3, (84.65,26.71), rotation=3*pi/2))
bgr.add(gdstk.Reference(nmoshv, (83.81,25.71)))
bgr.add(gdstk.Reference(via_stack_1, (88.195,26.135), rotation=3*pi/2, x_reflection=True))
bgr.add(gdstk.Reference(via_stack_5, (89.46,26.825)))
bgr.add(gdstk.Reference(guard_ring_1, (89.455,26.125)))
bgr.add(gdstk.Reference(pmoshv_2, (88.455,26.975), rotation=3*pi/2))
bgr.add(gdstk.Reference(via_stack_1, (84.65,25.45), rotation=pi))
bgr.add(gdstk.Reference(via_stack_3, (84.645,25.45)))
bgr.add(gdstk.Reference(via_stack_7, (89.445,25.45)))
bgr.add(gdstk.Reference(nmoshv, (83.915,22.225), rotation=3*pi/2))
bgr.add(gdstk.Reference(guard_ring_3, (84.915,21.385), rotation=pi))
bgr.add(gdstk.Reference(via_stack_4, (85.34,26.895)))
bgr.add(gdstk.Reference(via_stack_9, (84.955,22.075)))
bgr.add(gdstk.Reference(via_stack_10, (86.2,21.385)))
bgr.add(gdstk.Reference(pmoshv, (95.345,21.94), rotation=pi/2))
bgr.add(gdstk.Reference(pmoshv, (95.345,23.32), rotation=pi/2))
bgr.add(gdstk.Reference(pmoshv, (95.345,18.67), rotation=pi/2))
bgr.add(gdstk.Reference(via_stack_7, (98.665,28.21)))
bgr.add(gdstk.Reference(via_stack_6, (92.125,29.1)))
bgr.add(gdstk.Reference(rppd_1, (97.665,12.96)))
bgr.add(gdstk.Reference(rppd_1, (99.87,12.96)))
bgr.add(gdstk.Reference(rppd_1, (102.065,12.96)))
bgr.add(gdstk.Reference(rppd_1, (104.265,12.96)))
bgr.add(gdstk.Reference(rppd_1, (106.475,27.93), x_reflection=True))
bgr.add(gdstk.Reference(pmoshv, (95.345,16.78), rotation=pi/2))
bgr.add(gdstk.Reference(via_stack_12, (95.565,-10.205)))
bgr.add(gdstk.Reference(via_stack_1, (112.415,7.885)))
bgr.add(gdstk.Reference(via_stack_1, (108.485,7.915)))
bgr.add(gdstk.Reference(via_stack_1, (100.995,7.915), x_reflection=True))
bgr.add(gdstk.Reference(via_stack_12, (83.23,5.295)))
bgr.add(gdstk.Reference(via_stack_1, (93.505,7.915)))
bgr.add(gdstk.Label('DA', (97.27,21.77), layer=30, texttype=0))
bgr.add(gdstk.Label('DC', (91.85,14.585), layer=30, texttype=0))
bgr.add(gdstk.Label('DB', (91.955,17.735), layer=30, texttype=0))
bgr.add(gdstk.Label('VREF', (99.195,29.03), layer=30, texttype=25))
bgr.add(gdstk.Label('VDD', (89.035,29.2), layer=10, texttype=25))
bgr.add(gdstk.Label('GND', (90.86,22.275), layer=8, texttype=25))

lib.write_gds('BGR.gds')
